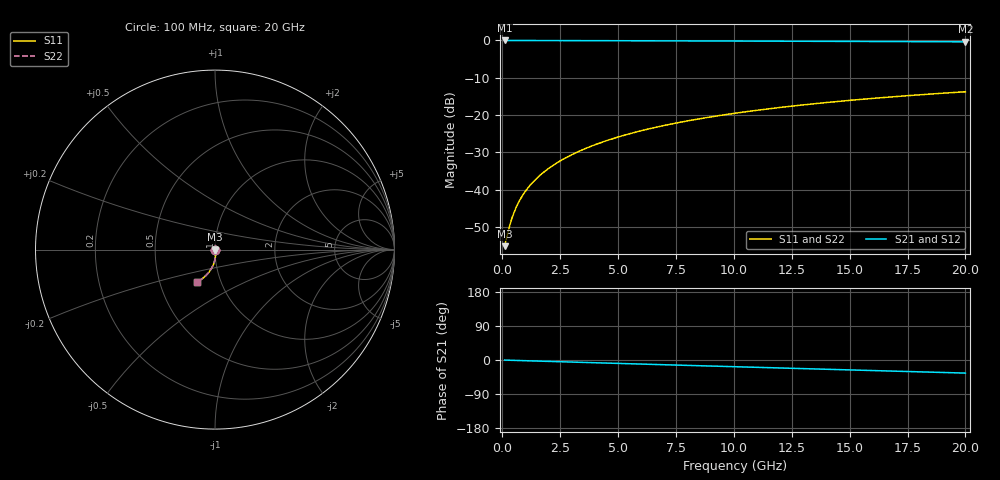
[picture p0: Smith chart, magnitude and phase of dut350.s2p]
! Touchstone file exported from HFSS 2026.1.0
!  File:  C:/ffzhzh/LocalFiles/Ansys_Project_Files/temp_train_BSMRDL_350_1783011413_46388.aedt
!  Generated:  12:58:22 AM Jul  3, 2026
!  Design:  BSMRDL
!  Project:  temp_train_BSMRDL_350_1783011413_46388
! Variables:
!  h_bsmrdl = 5.13um
!  h_ox = 20um
!  h_rdl = 5um
!  h_sub = 80um
!  h_tmrdl = 5um
!  h_tsv = 80um
!  h_via = 3um
!  l_bsmrdl = 576.86um
!  l_sub = 976.86um
!  l_tmrdl = 200um
!  m_sub = 200um
!  pitch = 31.85um
!  r_tsv = 6um
!  s_tmrdl = 10um
!  w_bsmrdl = 29.57um
!  w_sub = 500um
!  w_tmrdl = 12um
!  x_tsv_center1 = 206um
!  x_tsv_center2 = 812.43um
!  x_tsv_center3 = 1024.43um
!  x_tsv_center4 = 1630.86um
!  x_tsv_center5 = 1842.86um
!  x_tsv_center6 = 2449.29um
# GHz S MA R 50.000000
! Terminal data exported
! Port[1] = BSM_RDL1_1_T1
! Port[2] = BSM_RDL1_1_T2
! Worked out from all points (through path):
!   200 points, 100 MHz to 20 GHz, reference 50 ohm
!   highest |S21| = -0.02 dB at 100 MHz (marker M1); lowest = -0.4 dB at 20 GHz (marker M2)
!   group delay of S21, straight-line fit = 4.77 ps
!   lowest |S11| = -55.1 dB at 100 MHz (marker M3), VSWR 1.00, Z = 50.2 - j0.0297 ohm
!   |S11| at or under -10 dB: start of sweep to end of sweep
!   |S22| runs from -55.1 to -13.8 dB; largest |S21 - S12| = 4.7e-15
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0.1  0.001759 -9.7  0.9983 -0.2  0.9983 -0.2  0.001759 -9.7
! Gamma 0 0 0 0
! Port Impedance 50 0 50 0
0.3  0.003156 -34.6  0.9974 -0.6  0.9974 -0.6  0.003156 -34.6
0.4  0.004015 -44.0  0.9971 -0.8  0.9971 -0.8  0.004014 -44.0
0.5  0.004909 -51.1  0.9969 -1.0  0.9969 -1.0  0.004908 -51.1
0.6  0.005823 -56.5  0.9967 -1.2  0.9967 -1.2  0.005822 -56.5
0.8  0.007684 -64.0  0.9964 -1.5  0.9964 -1.5  0.007683 -64.0
1.1  0.01053 -70.6  0.9961 -2.1  0.9961 -2.1  0.01052 -70.6
1.5  0.01438 -75.6  0.9957 -2.8  0.9957 -2.8  0.01438 -75.6
1.8  0.01732 -78.0  0.9953 -3.3  0.9953 -3.3  0.01732 -78.1
2.1  0.02031 -79.9  0.9949 -3.9  0.9949 -3.9  0.0203 -79.9
2.7  0.02639 -82.5  0.994 -5.0  0.994 -5.0  0.02639 -82.6
3.5  0.03473 -85.2  0.9927 -6.4  0.9927 -6.4  0.03472 -85.2
4.2  0.0422 -87.2  0.9914 -7.6  0.9914 -7.6  0.04219 -87.2
5  0.05085 -89.2  0.99 -9.0  0.99 -9.0  0.05084 -89.3
5.9  0.06068 -91.4  0.9884 -10.6  0.9884 -10.6  0.06067 -91.5
6.8  0.07055 -93.5  0.9868 -12.2  0.9868 -12.2  0.07053 -93.5
8.3  0.08695 -96.8  0.984 -14.8  0.984 -14.8  0.08692 -96.9
10.1  0.1064 -100.5  0.9805 -17.9  0.9805 -17.9  0.1064 -100.6
11.7  0.1234 -103.7  0.9772 -20.6  0.9772 -20.6  0.1234 -103.9
13.4  0.1411 -107.0  0.9735 -23.5  0.9735 -23.5  0.1411 -107.1
16.7  0.1742 -113.1  0.9656 -29.0  0.9656 -29.0  0.1741 -113.3
20  0.2053 -119.0  0.9571 -34.5  0.9571 -34.5  0.2052 -119.2
